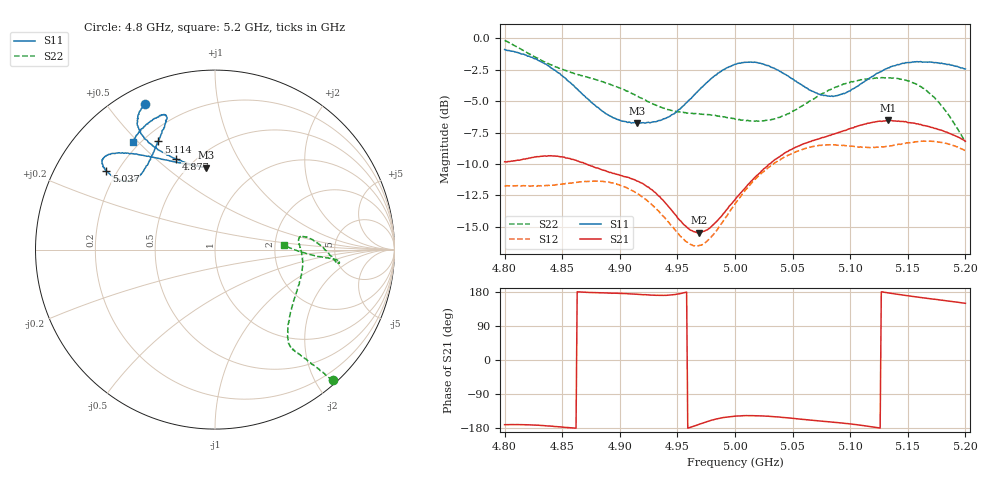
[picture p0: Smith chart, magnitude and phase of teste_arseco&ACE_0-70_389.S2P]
! Network Analyzer HP8722D
! Hewlett-Packard
! Data name: Linha & Wilkinson
! Saver's name: Rodrigo Anjos
! Comments: Teste da utilização de aquisição
! continua pelo VNA HP8722D
! Time and date: 8/5/2025 16:00
!  Frequency  S11  S21  S12  S22
# HZ  S  MA R 50
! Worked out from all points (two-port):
!   401 points, 4.8 GHz to 5.2 GHz, reference 50 ohm
!   highest |S21| = -6.53 dB at 5.133 GHz (marker M1); lowest = -15.5 dB at 4.969 GHz (marker M2)
!   |S21| within 3 dB of the highest: 4.821 GHz to 4.855 GHz (34.12 MHz wide, 0.705 % of centre); 5.037 GHz to end of sweep
!   lowest |S11| = -6.8 dB at 4.915 GHz (marker M3), VSWR 2.70, Z = 30.1 + j34.8 ohm
!   |S11| at or under -10 dB: nowhere
!   |S22| runs from -8.3 to -0.2 dB; largest |S21 - S12| = 0.83
!   S11 on the Smith chart (normalised r, x): 4.8 GHz: 0.07, +0.63; 4.877 GHz: 0.40, +0.58; 5.037 GHz: 0.16, +0.32; 5.114 GHz: 0.26, +0.57; 5.2 GHz: 0.17, +0.48
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4.8e9  0.902 115.8  0.3229 -170.7  0.259 -86.3  0.9801 -48.0
4.834e9  0.7963 122.2  0.3403 -173.2  0.2591 -77.2  0.8076 -50.1
4.849e9  0.7142 121.8  0.338 -176.9  0.2629 -72.2  0.7556 -51.0
4.867e9  0.6024 117.5  0.3208 179.2  0.2687 -67.9  0.7106 -51.9
4.877e9  0.5485 113.1  0.3084 177.8  0.2707 -66.9  0.6893 -52.2
4.901e9  0.4694 100.3  0.2845 175.6  0.2594 -67.5  0.6308 -50.1
4.915e9  0.4591 96.2  0.2704 173.5  0.2417 -69.2  0.5894 -46.3
4.934e9  0.4711 100.1  0.2354 170.6  0.205 -70.0  0.5352 -36.8
4.957e9  0.5503 116.4  0.1796 178.5  0.1561 -59.8  0.5063 -21.7
4.969e9  0.6234 124.3  0.1685 -169.5  0.1501 -46.4  0.5004 -14.8
4.981e9  0.7011 130.4  0.1813 -158.0  0.1653 -32.9  0.4942 -8.5
5e9  0.7882 137.3  0.2281 -148.4  0.2196 -21.6  0.4769 -0.2
5.018e9  0.8019 141.7  0.282 -147.1  0.2766 -19.0  0.4689 5.7
5.037e9  0.748 144.1  0.3344 -150.2  0.3247 -19.1  0.4834 8.6
5.067e9  0.616 141.6  0.3916 -159.0  0.3708 -21.6  0.5692 3.8
5.087e9  0.5897 133.3  0.4178 -164.8  0.377 -24.5  0.6385 -2.4
5.114e9  0.6805 117.7  0.457 -174.2  0.3683 -27.5  0.6879 -6.2
5.133e9  0.7632 111.0  0.4713 177.1  0.3723 -29.6  0.6957 -5.7
5.134e9  0.7636 110.8  0.4693 176.7  0.3726 -29.8  0.6957 -5.7
5.16e9  0.8062 112.2  0.4542 165.4  0.3885 -35.9  0.6468 -4.5
5.179e9  0.7964 118.5  0.4315 157.9  0.3849 -41.9  0.5408 -3.2
5.2e9  0.7547 127.4  0.3896 149.6  0.3572 -47.5  0.3868 3.5
